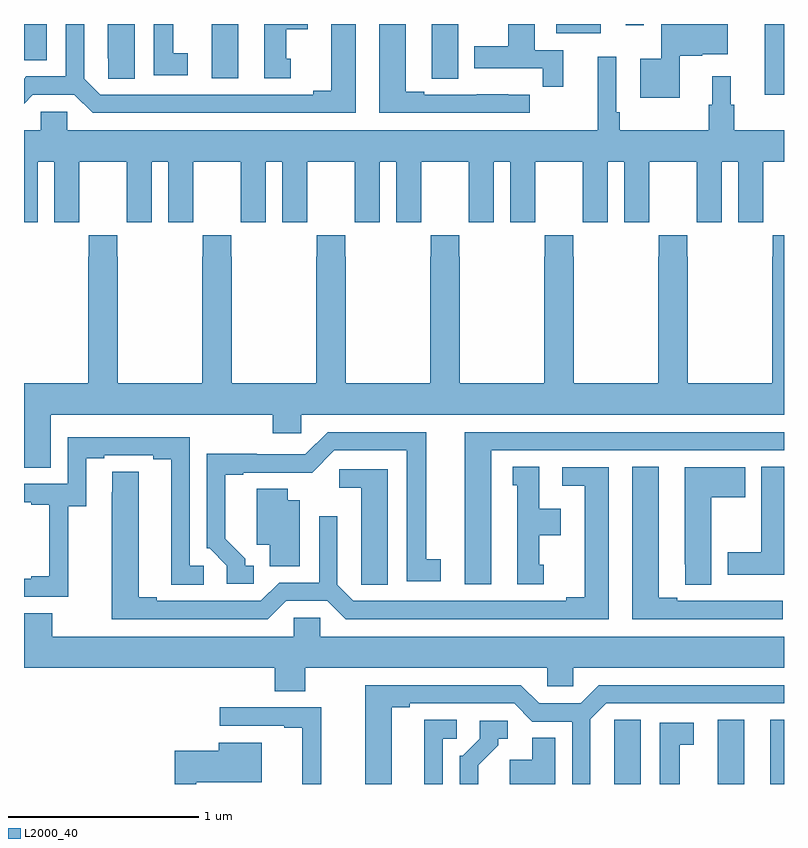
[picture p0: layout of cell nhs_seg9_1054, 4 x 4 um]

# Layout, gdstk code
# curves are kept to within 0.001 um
import gdstk
lib = gdstk.Library(unit=1e-6, precision=1e-09)
def R(c, l, rs):  # rectangles x0, y0, x1, y1
    for r in rs: c.add(gdstk.rectangle(r[:2], r[2:], *l))
def P(c, l, *ps):  # polygons
    for p in ps: c.add(gdstk.Polygon(p, *l))
L2000_40 = (2000, 40)

nhs_seg9_1054 = lib.new_cell('nhs_seg9_1054')
R(nhs_seg9_1054, L2000_40, [(172.652,1170.5,172.792,1170.838), (172.928,1170.5,173,1170.838), (172.898,1174.128,173,1174.5), (169.988,1174.215,170.128,1174.5), (169,1174.309,169.12,1174.5), (171.8,1174.451,172.036,1174.5), (172.166,1174.494,172.263,1174.5)])
P(nhs_seg9_1054, L2000_40, [(171.661,1174.128),(171.548,1174.128),(171.548,1174.129),(171.382,1174.129),(171.382,1174.128),(171.106,1174.128),(171.106,1174.143),(171.01,1174.143),(171.01,1174.5),(170.87,1174.5),(170.87,1174.032),(171.661,1174.032)],
  [(172.45,1174.333),(172.569,1174.333),(172.569,1174.34),(172.705,1174.34),(172.705,1174.5),(172.353,1174.5),(172.353,1174.318),(172.244,1174.318),(172.244,1174.112),(172.45,1174.112)],
  [(171.286,1174.5),(171.146,1174.5),(171.146,1174.321),(171.147,1174.321),(171.147,1174.213),(171.286,1174.213)],
  [(169.582,1174.5),(169.442,1174.5),(169.442,1174.321),(169.443,1174.321),(169.443,1174.213),(169.582,1174.213)],
  [(170.746,1174.5),(170.618,1174.5),(170.618,1174.148),(170.522,1174.148),(170.522,1174.128),(169.401,1174.128),(169.317,1174.212),(169.317,1174.5),(169.221,1174.5),(169.221,1174.224),(169.011,1174.224),(169,1174.213),(169,1174.081),(169.047,1174.128),(169.265,1174.128),(169.361,1174.032),(170.746,1174.032)],
  [(169.861,1174.346),(169.786,1174.346),(169.786,1174.5),(169.682,1174.5),(169.682,1174.23),(169.861,1174.23)],
  [(170.404,1174.317),(170.38,1174.317),(170.38,1174.472),(170.494,1174.472),(170.494,1174.5),(170.264,1174.5),(170.264,1174.215),(170.404,1174.215)],
  [(171.839,1174.362),(171.688,1174.362),(171.688,1174.5),(171.548,1174.5),(171.548,1174.383),(171.371,1174.383),(171.371,1174.266),(171.73,1174.266),(171.73,1174.17),(171.839,1174.17)],
  [(169.089,1173.94),(169,1173.94),(169,1173.456),(169.072,1173.456),(169.072,1173.776),(169.16,1173.776),(169.16,1173.456),(169.29,1173.456),(169.29,1173.568),(169.291,1173.568),(169.291,1173.776),(169.541,1173.776),(169.541,1173.568),(169.542,1173.568),(169.542,1173.456),(169.672,1173.456),(169.672,1173.776),(169.76,1173.776),(169.76,1173.456),(169.89,1173.456),(169.89,1173.568),(169.891,1173.568),(169.891,1173.776),(170.141,1173.776),(170.141,1173.568),(170.142,1173.568),(170.142,1173.456),(170.272,1173.456),(170.272,1173.776),(170.36,1173.776),(170.36,1173.456),(170.49,1173.456),(170.49,1173.568),(170.491,1173.568),(170.491,1173.776),(170.741,1173.776),(170.741,1173.568),(170.742,1173.568),(170.742,1173.456),(170.872,1173.456),(170.872,1173.776),(170.96,1173.776),(170.96,1173.456),(171.09,1173.456),(171.09,1173.568),(171.091,1173.568),(171.091,1173.776),(171.341,1173.776),(171.341,1173.568),(171.342,1173.568),(171.342,1173.456),(171.472,1173.456),(171.472,1173.776),(171.56,1173.776),(171.56,1173.456),(171.69,1173.456),(171.69,1173.568),(171.691,1173.568),(171.691,1173.776),(171.941,1173.776),(171.941,1173.568),(171.942,1173.568),(171.942,1173.456),(172.072,1173.456),(172.072,1173.776),(172.16,1173.776),(172.16,1173.456),(172.29,1173.456),(172.29,1173.568),(172.291,1173.568),(172.291,1173.776),(172.541,1173.776),(172.541,1173.568),(172.542,1173.568),(172.542,1173.456),(172.672,1173.456),(172.672,1173.776),(172.76,1173.776),(172.76,1173.456),(172.89,1173.456),(172.89,1173.568),(172.891,1173.568),(172.891,1173.776),(173,1173.776),(173,1173.94),(172.739,1173.94),(172.739,1174.074),(172.72,1174.074),(172.72,1174.225),(172.622,1174.225),(172.622,1174.074),(172.603,1174.074),(172.603,1173.94),(172.136,1173.94),(172.136,1174.036),(172.116,1174.036),(172.116,1174.327),(172.019,1174.327),(172.019,1173.94),(169.227,1173.94),(169.227,1174.038),(169.089,1174.038)],
  [(173,1173.388),(172.941,1173.388),(172.941,1173.275),(172.939,1173.275),(172.939,1172.608),(172.494,1172.608),(172.494,1173.275),(172.491,1173.275),(172.491,1173.388),(172.341,1173.388),(172.341,1173.275),(172.339,1173.275),(172.339,1172.608),(171.894,1172.608),(171.894,1173.275),(171.891,1173.275),(171.891,1173.388),(171.741,1173.388),(171.741,1173.275),(171.739,1173.275),(171.739,1172.608),(171.294,1172.608),(171.294,1173.275),(171.291,1173.275),(171.291,1173.388),(171.141,1173.388),(171.141,1173.275),(171.139,1173.275),(171.139,1172.608),(170.694,1172.608),(170.694,1173.275),(170.691,1173.275),(170.691,1173.388),(170.541,1173.388),(170.541,1173.275),(170.539,1173.275),(170.539,1172.608),(170.094,1172.608),(170.094,1173.275),(170.091,1173.275),(170.091,1173.388),(169.941,1173.388),(169.941,1173.275),(169.939,1173.275),(169.939,1172.608),(169.494,1172.608),(169.494,1173.275),(169.491,1173.275),(169.491,1173.388),(169.341,1173.388),(169.341,1173.275),(169.339,1173.275),(169.339,1172.608),(169,1172.608),(169,1172.164),(169.141,1172.164),(169.141,1172.444),(170.309,1172.444),(170.309,1172.346),(170.46,1172.346),(170.46,1172.444),(173,1172.444)],
  [(170.209,1171.65),(170.164,1171.65),(170.164,1171.685),(170.059,1171.79),(170.059,1172.127),(170.155,1172.127),(170.155,1172.139),(170.516,1172.138),(170.634,1172.256),(171.014,1172.256),(171.014,1171.566),(171.193,1171.566),(171.193,1171.682),(171.118,1171.682),(171.118,1172.352),(170.598,1172.352),(170.481,1172.235),(170.225,1172.235),(170.225,1172.237),(169.962,1172.237),(169.962,1171.74),(169.977,1171.74),(170.067,1171.65),(170.067,1171.554),(170.209,1171.554)],
  [(171.46,1172.256),(173,1172.256),(173,1172.352),(171.32,1172.352),(171.32,1171.551),(171.46,1171.551)],
  [(169.233,1171.963),(169.327,1171.963),(169.327,1172.214),(169.423,1172.214),(169.423,1172.229),(169.679,1172.229),(169.679,1172.209),(169.775,1172.209),(169.775,1171.549),(169.945,1171.549),(169.945,1171.65),(169.872,1171.65),(169.872,1172.325),(169.23,1172.325),(169.23,1172.079),(169,1172.079),(169,1171.983),(169.037,1171.983),(169.037,1171.971),(169.133,1171.971),(169.133,1171.594),(169.037,1171.594),(169.037,1171.581),(169,1171.581),(169,1171.485),(169.233,1171.485)],
  [(171.736,1171.653),(171.712,1171.653),(171.712,1171.808),(171.826,1171.808),(171.826,1171.948),(171.712,1171.948),(171.712,1172.171),(171.572,1172.171),(171.572,1172.073),(171.596,1172.073),(171.596,1171.551),(171.736,1171.551)],
  [(172.993,1171.464),(172.88,1171.464),(172.88,1171.465),(172.714,1171.465),(172.714,1171.464),(172.438,1171.464),(172.438,1171.479),(172.342,1171.479),(172.342,1172.171),(172.202,1172.171),(172.202,1171.368),(172.993,1171.368)],
  [(173,1172.171),(172.88,1172.171),(172.88,1171.719),(172.703,1171.719),(172.703,1171.602),(173,1171.602)],
  [(172.618,1172.008),(172.795,1172.008),(172.795,1172.167),(172.478,1172.167),(172.478,1171.657),(172.479,1171.657),(172.479,1171.549),(172.618,1171.549)],
  [(170.379,1171.464),(170.597,1171.464),(170.693,1171.368),(172.078,1171.368),(172.078,1172.166),(171.834,1172.166),(171.834,1172.07),(171.95,1172.07),(171.95,1171.484),(171.854,1171.484),(171.854,1171.464),(170.733,1171.464),(170.649,1171.548),(170.649,1171.909),(170.553,1171.909),(170.553,1171.56),(170.343,1171.56),(170.247,1171.464),(169.699,1171.464),(169.699,1171.484),(169.603,1171.484),(169.603,1172.144),(169.464,1172.144),(169.463,1171.368),(170.283,1171.368)],
  [(170.914,1172.157),(170.658,1172.157),(170.658,1172.06),(170.774,1172.06),(170.774,1171.657),(170.775,1171.657),(170.775,1171.549),(170.914,1171.549)],
  [(170.452,1171.993),(170.389,1171.993),(170.389,1172.054),(170.225,1172.054),(170.225,1171.76),(170.294,1171.76),(170.294,1171.645),(170.452,1171.645)],
  [(170.481,1171.112),(171.753,1171.112),(171.753,1171.014),(171.891,1171.014),(171.891,1171.112),(173,1171.112),(173,1171.276),(170.559,1171.276),(170.559,1171.374),(170.421,1171.374),(170.421,1171.276),(169.149,1171.276),(169.149,1171.4),(169,1171.4),(169,1171.112),(170.321,1171.112),(170.321,1170.988),(170.481,1170.988)],
  [(170.935,1170.904),(171.031,1170.904),(171.031,1170.924),(171.579,1170.924),(171.675,1170.828),(171.885,1170.828),(171.885,1170.5),(171.981,1170.5),(171.981,1170.84),(172.065,1170.924),(173,1170.924),(173,1171.02),(172.025,1171.02),(171.929,1170.924),(171.711,1170.924),(171.615,1171.02),(170.795,1171.02),(170.795,1170.5),(170.935,1170.5)],
  [(170.565,1170.903),(170.031,1170.903),(170.031,1170.807),(170.369,1170.807),(170.369,1170.795),(170.465,1170.795),(170.465,1170.5),(170.565,1170.5)],
  [(171.204,1170.738),(171.277,1170.738),(171.277,1170.839),(171.107,1170.839),(171.107,1170.5),(171.204,1170.5)],
  [(172.246,1170.839),(172.107,1170.839),(172.107,1170.731),(172.106,1170.731),(172.106,1170.5),(172.246,1170.5)],
  [(171.391,1170.598),(171.496,1170.703),(171.496,1170.738),(171.547,1170.738),(171.547,1170.834),(171.399,1170.834),(171.399,1170.738),(171.309,1170.648),(171.294,1170.648),(171.294,1170.5),(171.391,1170.5)],
  [(172.45,1170.706),(172.525,1170.706),(172.525,1170.822),(172.346,1170.822),(172.346,1170.5),(172.45,1170.5)],
  [(171.796,1170.743),(171.674,1170.743),(171.674,1170.628),(171.557,1170.628),(171.557,1170.5),(171.796,1170.5)],
  [(169.906,1170.509),(170.251,1170.509),(170.251,1170.718),(170.024,1170.718),(170.024,1170.675),(169.794,1170.675),(169.794,1170.5),(169.906,1170.5)])

lib.write_gds('nhs_seg9_1054.gds')
